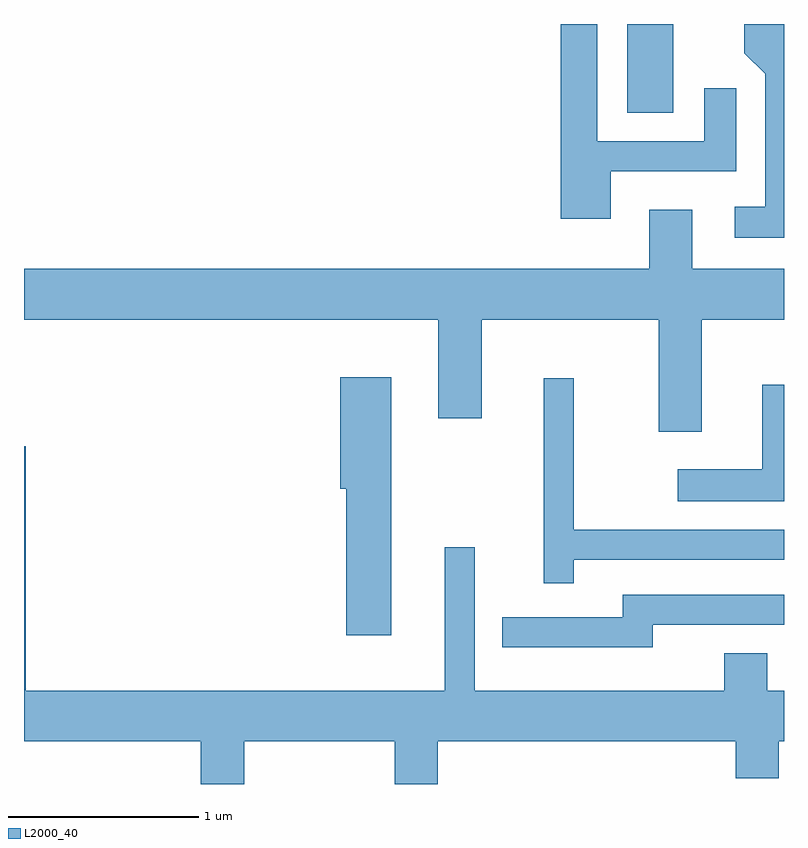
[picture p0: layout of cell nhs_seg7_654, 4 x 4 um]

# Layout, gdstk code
import gdstk
lib = gdstk.Library(unit=1e-6, precision=1e-09)
def R(c, l, rs):  # rectangles x0, y0, x1, y1
    for r in rs: c.add(gdstk.rectangle(r[:2], r[2:], *l))
def P(c, l, *ps):  # polygons
    for p in ps: c.add(gdstk.Polygon(p, *l))
L2000_40 = (2000, 40)

nhs_seg7_654 = lib.new_cell('nhs_seg7_654')
R(nhs_seg7_654, L2000_40, [(206.786,1779.786,207.029,1780.252)])
P(nhs_seg7_654, L2000_40, [(206.699,1779.476),(207.359,1779.476),(207.359,1779.913),(207.191,1779.913),(207.191,1779.634),(206.629,1779.634),(206.629,1780.252),(206.436,1780.252),(206.436,1779.226),(206.699,1779.226)],
  [(207.611,1780.252),(207.401,1780.252),(207.401,1780.099),(207.511,1779.989),(207.511,1779.289),(207.353,1779.289),(207.353,1779.126),(207.611,1779.126)],
  [(207.179,1778.696),(207.611,1778.696),(207.611,1778.964),(207.129,1778.964),(207.129,1779.274),(206.901,1779.274),(206.901,1778.964),(203.611,1778.964),(203.611,1778.696),(205.791,1778.696),(205.791,1778.176),(206.019,1778.176),(206.019,1778.696),(206.951,1778.696),(206.951,1778.106),(207.179,1778.106)],
  [(205.544,1778.394),(205.276,1778.394),(205.276,1777.806),(205.306,1777.806),(205.306,1777.036),(205.544,1777.036)],
  [(206.504,1777.431),(207.611,1777.431),(207.611,1777.589),(206.504,1777.589),(206.504,1778.388),(206.346,1778.388),(206.346,1777.308),(206.504,1777.308)],
  [(207.611,1778.354),(207.496,1778.354),(207.496,1777.909),(207.053,1777.909),(207.053,1777.741),(207.611,1777.741)],
  [(204.769,1776.476),(205.561,1776.476),(205.561,1776.252),(205.789,1776.252),(205.789,1776.476),(207.356,1776.476),(207.356,1776.281),(207.584,1776.281),(207.584,1776.476),(207.611,1776.476),(207.611,1776.744),(207.524,1776.744),(207.524,1776.939),(207.296,1776.939),(207.296,1776.744),(205.984,1776.744),(205.984,1777.498),(205.826,1777.498),(205.826,1776.744),(203.619,1776.744),(203.619,1778.029),(203.611,1778.029),(203.611,1776.476),(204.541,1776.476),(204.541,1776.252),(204.769,1776.252)],
  [(206.919,1777.091),(207.611,1777.091),(207.611,1777.249),(206.761,1777.249),(206.761,1777.129),(206.128,1777.129),(206.128,1776.971),(206.919,1776.971)])

lib.write_gds('nhs_seg7_654.gds')
